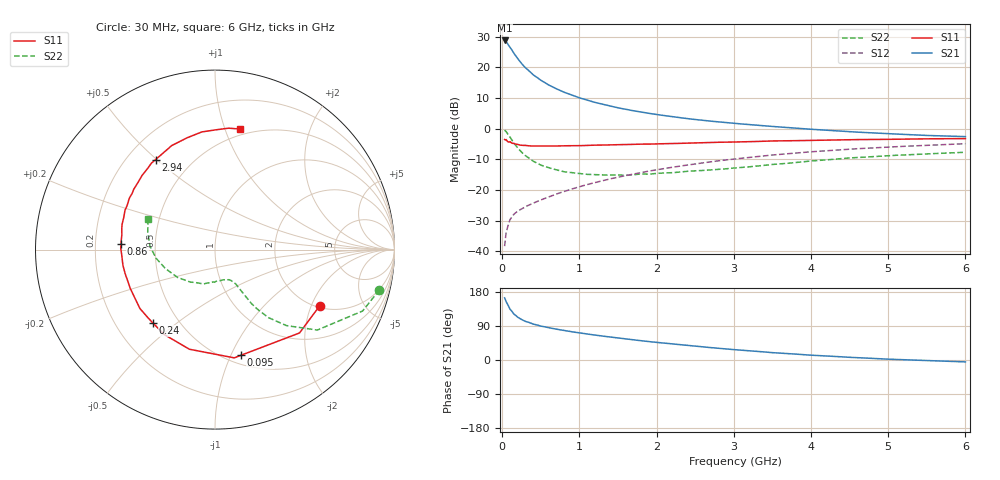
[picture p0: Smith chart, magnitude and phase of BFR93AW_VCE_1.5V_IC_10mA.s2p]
! Infineon Technologies  Discrete & RF Semiconductors
! BFR93AW
! VCE =  1.5 V,  IC =  10 mA
! Common Emitter S-Parameters:  Nov 2015
# GHz  S  MA  R  50
!  f  S11  S21  S12  S22
! GHz  MAG  ANG  MAG  ANG  MAG  ANG  MAG  ANG
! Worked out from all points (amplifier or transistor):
!   206 points, 30 MHz to 6 GHz, reference 50 ohm
!   highest |S21| = 28.7 dB at 30 MHz (marker M1)
!   |S21| within 3 dB of that: start of sweep to 121.1 MHz
!   unconditionally stable (mu >= 1): 705.4 MHz to 2.553 GHz
!   at 200 MHz: K = 0.50, MSG = 24.8 dB, |S12| = -26.9 dB
!   at 1.56 GHz: K = 1.08, MAG = 9.3 dB, |S12| = -15.5 dB
!   at 6 GHz: K = 0.96, MSG = 1.2 dB, |S12| = -4.9 dB
!   S11 on the Smith chart (normalised r, x): 30 MHz: 2.07, -2.31; 95 MHz: 0.59, -1.09; 240 MHz: 0.36, -0.41; 860 MHz: 0.31, +0.03; 2.94 GHz: 0.32, +0.50; 6 GHz: 0.45, +1.13
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0.03  0.6622 -28.2  27.29 164.0  0.0121 75.4  0.9428 -13.8
0.05  0.6614 -44.6  26.18 153.4  0.02 69.1  0.8907 -22.6
0.095  0.6065 -76.3  21.66 136.3  0.0315 59.4  0.7387 -36.4
0.1  0.6126 -79.9  21.3 134.0  0.0328 58.7  0.725 -38.2
0.15  0.5732 -104.4  16.87 121.3  0.0401 52.4  0.5805 -46.8
0.2  0.5512 -120.7  13.74 112.8  0.0451 50.3  0.4824 -51.8
0.24  0.5355 -130.3  11.88 108.0  0.0482 49.5  0.4239 -53.9
0.26  0.5325 -134.6  11.09 105.8  0.0498 49.5  0.3998 -54.8
0.3  0.5317 -141.9  9.787 101.9  0.0532 50.3  0.3617 -56.0
0.4  0.5193 -155.1  7.52 94.8  0.0607 52.8  0.2937 -57.1
0.5  0.5183 -163.8  6.117 89.4  0.0686 54.8  0.2531 -58.1
0.6  0.5204 -170.3  5.139 85.1  0.0767 57.1  0.229 -58.5
0.7  0.5199 -176.0  4.453 81.3  0.0856 58.6  0.2123 -59.9
0.86  0.5248 176.7  3.665 75.9  0.0997 60.6  0.1939 -62.7
1.04  0.5279 169.7  3.059 70.3  0.1164 61.8  0.1826 -66.7
1.48  0.5461 156.9  2.206 58.5  0.1591 62.4  0.1753 -80.1
2.02  0.5642 143.0  1.678 46.0  0.2146 60.4  0.1866 -98.0
2.94  0.6011 123.4  1.237 28.5  0.3119 53.5  0.2233 -125.5
3.1  0.6065 120.1  1.188 25.9  0.3282 51.8  0.232 -130.7
4.1  0.6446 102.4  0.956 11.7  0.4265 41.0  0.3021 -161.9
5.1  0.6691 88.5  0.814 1.5  0.5063 29.7  0.3666 174.5
6  0.6862 78.1  0.739 -5.0  0.5661 20.0  0.4111 155.3
